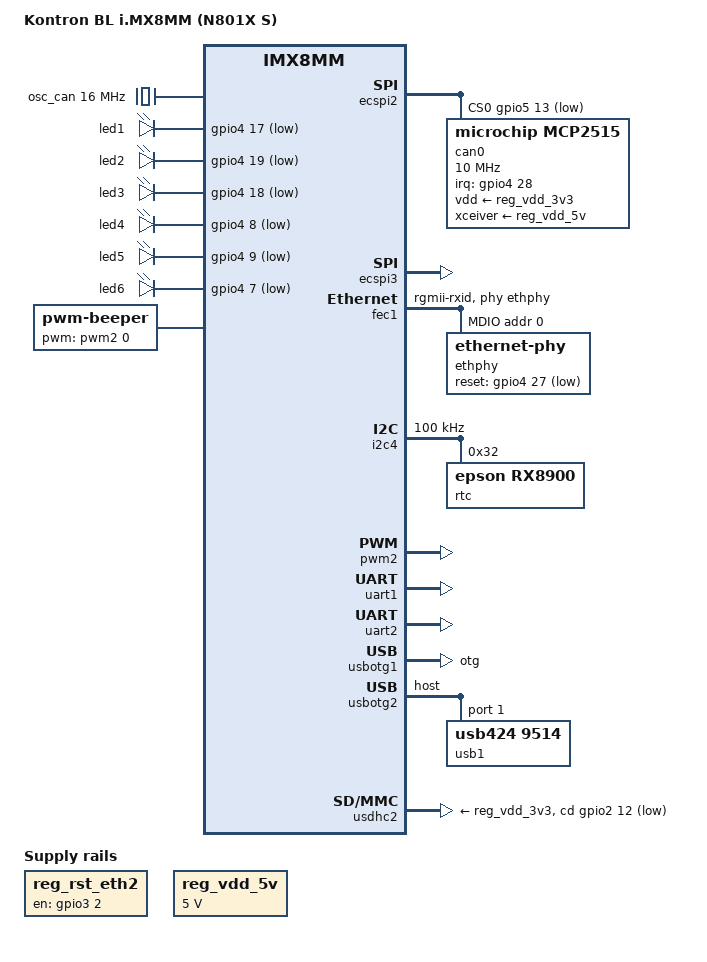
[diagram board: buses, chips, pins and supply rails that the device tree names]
// SPDX-License-Identifier: GPL-2.0+ OR MIT
/*
 * Copyright (C) 2019 Kontron Electronics GmbH
 */

/dts-v1/;

#include "imx8mm-kontron-sl.dtsi"

/ {
	model = "Kontron BL i.MX8MM (N801X S)";
	compatible = "kontron,imx8mm-bl", "kontron,imx8mm-sl", "fsl,imx8mm";

	aliases {
		ethernet1 = &usbnet;
	};

	/* fixed crystal dedicated to mcp2515 */
	osc_can: clock-osc-can {
		compatible = "fixed-clock";
		#clock-cells = <0>;
		clock-frequency = <16000000>;
		clock-output-names = "osc-can";
	};

	leds {
		compatible = "gpio-leds";
		pinctrl-names = "default";
		pinctrl-0 = <&pinctrl_gpio_led>;

		led1 {
			label = "led1";
			gpios = <&gpio4 17 GPIO_ACTIVE_LOW>;
			linux,default-trigger = "heartbeat";
		};

		led2 {
			label = "led2";
			gpios = <&gpio4 19 GPIO_ACTIVE_LOW>;
		};

		led3 {
			label = "led3";
			gpios = <&gpio4 18 GPIO_ACTIVE_LOW>;
		};

		led4 {
			label = "led4";
			gpios = <&gpio4 8 GPIO_ACTIVE_LOW>;
		};

		led5 {
			label = "led5";
			gpios = <&gpio4 9 GPIO_ACTIVE_LOW>;
		};

		led6 {
			label = "led6";
			gpios = <&gpio4 7 GPIO_ACTIVE_LOW>;
		};
	};

	pwm-beeper {
		compatible = "pwm-beeper";
		pwms = <&pwm2 0 5000 0>;
	};

	reg_rst_eth2: regulator-rst-eth2 {
		compatible = "regulator-fixed";
		regulator-name = "rst-usb-eth2";
		pinctrl-names = "default";
		pinctrl-0 = <&pinctrl_usb_eth2>;
		gpio = <&gpio3 2 GPIO_ACTIVE_HIGH>;
		enable-active-high;
		regulator-always-on;
	};

	reg_vdd_5v: regulator-5v {
		compatible = "regulator-fixed";
		regulator-name = "vdd-5v";
		regulator-min-microvolt = <5000000>;
		regulator-max-microvolt = <5000000>;
	};
};

&ecspi2 {
	pinctrl-names = "default";
	pinctrl-0 = <&pinctrl_ecspi2>;
	cs-gpios = <&gpio5 13 GPIO_ACTIVE_LOW>;
	status = "okay";

	can0: can@0 {
		compatible = "microchip,mcp2515";
		reg = <0>;
		pinctrl-names = "default";
		pinctrl-0 = <&pinctrl_can>;
		clocks = <&osc_can>;
		interrupt-parent = <&gpio4>;
		interrupts = <28 IRQ_TYPE_EDGE_FALLING>;
		spi-max-frequency = <10000000>;
		vdd-supply = <&reg_vdd_3v3>;
		xceiver-supply = <&reg_vdd_5v>;
	};
};

&ecspi3 {
	pinctrl-names = "default";
	pinctrl-0 = <&pinctrl_ecspi3>;
	cs-gpios = <&gpio5 25 GPIO_ACTIVE_LOW>;
	status = "okay";
};

&fec1 {
	pinctrl-names = "default";
	pinctrl-0 = <&pinctrl_enet>;
	phy-connection-type = "rgmii-rxid";
	phy-handle = <&ethphy>;
	status = "okay";

	mdio {
		#address-cells = <1>;
		#size-cells = <0>;

		ethphy: ethernet-phy@0 {
			reg = <0>;
			reset-assert-us = <1>;
			reset-deassert-us = <15000>;
			reset-gpios = <&gpio4 27 GPIO_ACTIVE_LOW>;
		};
	};
};

&i2c4 {
	clock-frequency = <100000>;
	pinctrl-names = "default";
	pinctrl-0 = <&pinctrl_i2c4>;
	status = "okay";

	rtc@32 {
		compatible = "epson,rx8900";
		reg = <0x32>;
	};
};

&pwm2 {
	pinctrl-names = "default";
	pinctrl-0 = <&pinctrl_pwm2>;
	status = "okay";
};

&uart1 {
	pinctrl-names = "default";
	pinctrl-0 = <&pinctrl_uart1>;
	uart-has-rtscts;
	status = "okay";
};

&uart2 {
	pinctrl-names = "default";
	pinctrl-0 = <&pinctrl_uart2>;
	linux,rs485-enabled-at-boot-time;
	uart-has-rtscts;
	status = "okay";
};

&usbotg1 {
	dr_mode = "otg";
	over-current-active-low;
	status = "okay";
};

&usbotg2 {
	dr_mode = "host";
	disable-over-current;
	#address-cells = <1>;
	#size-cells = <0>;
	status = "okay";

	usb1@1 {
		compatible = "usb424,9514";
		reg = <1>;
		#address-cells = <1>;
		#size-cells = <0>;

		usbnet: ethernet@1 {
			compatible = "usb424,ec00";
			reg = <1>;
			local-mac-address = [ 00 00 00 00 00 00 ];
		};
	};
};

&usdhc2 {
	pinctrl-names = "default", "state_100mhz", "state_200mhz";
	pinctrl-0 = <&pinctrl_usdhc2>;
	pinctrl-1 = <&pinctrl_usdhc2_100mhz>;
	pinctrl-2 = <&pinctrl_usdhc2_200mhz>;
	vmmc-supply = <&reg_vdd_3v3>;
	vqmmc-supply = <&reg_nvcc_sd>;
	cd-gpios = <&gpio2 12 GPIO_ACTIVE_LOW>;
	status = "okay";
};

&iomuxc {
	pinctrl-names = "default";
	pinctrl-0 = <&pinctrl_gpio>;

	pinctrl_can: cangrp {
		fsl,pins = <
			MX8MM_IOMUXC_SAI3_RXFS_GPIO4_IO28		0x19
		>;
	};

	pinctrl_ecspi2: ecspi2grp {
		fsl,pins = <
			MX8MM_IOMUXC_ECSPI2_MISO_ECSPI2_MISO		0x82
			MX8MM_IOMUXC_ECSPI2_MOSI_ECSPI2_MOSI		0x82
			MX8MM_IOMUXC_ECSPI2_SCLK_ECSPI2_SCLK		0x82
			MX8MM_IOMUXC_ECSPI2_SS0_GPIO5_IO13		0x19
		>;
	};

	pinctrl_ecspi3: ecspi3grp {
		fsl,pins = <
			MX8MM_IOMUXC_UART2_RXD_ECSPI3_MISO		0x82
			MX8MM_IOMUXC_UART1_TXD_ECSPI3_MOSI		0x82
			MX8MM_IOMUXC_UART1_RXD_ECSPI3_SCLK		0x82
			MX8MM_IOMUXC_UART2_TXD_GPIO5_IO25		0x19
		>;
	};

	pinctrl_enet: enetgrp {
		fsl,pins = <
			MX8MM_IOMUXC_ENET_MDC_ENET1_MDC			0x3
			MX8MM_IOMUXC_ENET_MDIO_ENET1_MDIO		0x3
			MX8MM_IOMUXC_ENET_TD3_ENET1_RGMII_TD3		0x1f
			MX8MM_IOMUXC_ENET_TD2_ENET1_RGMII_TD2		0x1f
			MX8MM_IOMUXC_ENET_TD1_ENET1_RGMII_TD1		0x1f
			MX8MM_IOMUXC_ENET_TD0_ENET1_RGMII_TD0		0x1f
			MX8MM_IOMUXC_ENET_RD3_ENET1_RGMII_RD3		0x91
			MX8MM_IOMUXC_ENET_RD2_ENET1_RGMII_RD2		0x91
			MX8MM_IOMUXC_ENET_RD1_ENET1_RGMII_RD1		0x91
			MX8MM_IOMUXC_ENET_RD0_ENET1_RGMII_RD0		0x91
			MX8MM_IOMUXC_ENET_TXC_ENET1_RGMII_TXC		0x1f
			MX8MM_IOMUXC_ENET_RXC_ENET1_RGMII_RXC		0x91
			MX8MM_IOMUXC_ENET_RX_CTL_ENET1_RGMII_RX_CTL	0x91
			MX8MM_IOMUXC_ENET_TX_CTL_ENET1_RGMII_TX_CTL	0x1f
			MX8MM_IOMUXC_SAI2_MCLK_GPIO4_IO27		0x19 /* PHY RST */
			MX8MM_IOMUXC_SAI2_TXC_GPIO4_IO25		0x19 /* ETH IRQ */
		>;
	};

	pinctrl_gpio_led: gpioledgrp {
		fsl,pins = <
			MX8MM_IOMUXC_NAND_READY_B_GPIO3_IO16		0x19
			MX8MM_IOMUXC_SAI1_RXD5_GPIO4_IO7		0x19
			MX8MM_IOMUXC_SAI1_RXD6_GPIO4_IO8		0x19
			MX8MM_IOMUXC_SAI1_RXD7_GPIO4_IO9		0x19
			MX8MM_IOMUXC_SAI1_TXD5_GPIO4_IO17		0x19
			MX8MM_IOMUXC_SAI1_TXD6_GPIO4_IO18		0x19
			MX8MM_IOMUXC_SAI1_TXD7_GPIO4_IO19		0x19
		>;
	};

	pinctrl_gpio: gpiogrp {
		fsl,pins = <
			MX8MM_IOMUXC_GPIO1_IO03_GPIO1_IO3		0x19
			MX8MM_IOMUXC_GPIO1_IO07_GPIO1_IO7		0x19
			MX8MM_IOMUXC_GPIO1_IO09_GPIO1_IO9		0x19
			MX8MM_IOMUXC_GPIO1_IO11_GPIO1_IO11		0x19
			MX8MM_IOMUXC_GPIO1_IO06_GPIO1_IO6		0x19
			MX8MM_IOMUXC_GPIO1_IO08_GPIO1_IO8		0x19
			MX8MM_IOMUXC_GPIO1_IO10_GPIO1_IO10		0x19
			MX8MM_IOMUXC_SAI3_MCLK_GPIO5_IO2		0x19
		>;
	};

	pinctrl_i2c4: i2c4grp {
		fsl,pins = <
			MX8MM_IOMUXC_I2C4_SCL_I2C4_SCL			0x40000083
			MX8MM_IOMUXC_I2C4_SDA_I2C4_SDA			0x40000083
		>;
	};

	pinctrl_pwm2: pwm2grp {
		fsl,pins = <
			MX8MM_IOMUXC_SPDIF_RX_PWM2_OUT			0x19
		>;
	};

	pinctrl_uart1: uart1grp {
		fsl,pins = <
			MX8MM_IOMUXC_SAI2_RXC_UART1_DCE_RX		0x0
			MX8MM_IOMUXC_SAI2_RXFS_UART1_DCE_TX		0x0
			MX8MM_IOMUXC_SAI2_RXD0_UART1_DCE_RTS_B		0x0
			MX8MM_IOMUXC_SAI2_TXFS_UART1_DCE_CTS_B		0x0
		>;
	};

	pinctrl_uart2: uart2grp {
		fsl,pins = <
			MX8MM_IOMUXC_SAI3_TXFS_UART2_DCE_RX		0x0
			MX8MM_IOMUXC_SAI3_TXC_UART2_DCE_TX		0x0
			MX8MM_IOMUXC_SAI3_RXD_UART2_DCE_RTS_B		0x0
			MX8MM_IOMUXC_SAI3_RXC_UART2_DCE_CTS_B		0x0
		>;
	};

	pinctrl_usb_eth2: usbeth2grp {
		fsl,pins = <
			MX8MM_IOMUXC_NAND_CE1_B_GPIO3_IO2		0x19
		>;
	};

	pinctrl_usdhc2: usdhc2grp {
		fsl,pins = <
			MX8MM_IOMUXC_SD2_CLK_USDHC2_CLK			0x90
			MX8MM_IOMUXC_SD2_CMD_USDHC2_CMD			0x1d0
			MX8MM_IOMUXC_SD2_DATA0_USDHC2_DATA0		0x1d0
			MX8MM_IOMUXC_SD2_DATA1_USDHC2_DATA1		0x1d0
			MX8MM_IOMUXC_SD2_DATA2_USDHC2_DATA2		0x1d0
			MX8MM_IOMUXC_SD2_DATA3_USDHC2_DATA3		0x1d0
			MX8MM_IOMUXC_SD2_CD_B_GPIO2_IO12		0x19
			MX8MM_IOMUXC_GPIO1_IO04_USDHC2_VSELECT		0xd0
		>;
	};

	pinctrl_usdhc2_100mhz: usdhc2-100mhzgrp {
		fsl,pins = <
			MX8MM_IOMUXC_SD2_CLK_USDHC2_CLK			0x94
			MX8MM_IOMUXC_SD2_CMD_USDHC2_CMD			0x1d4
			MX8MM_IOMUXC_SD2_DATA0_USDHC2_DATA0		0x1d4
			MX8MM_IOMUXC_SD2_DATA1_USDHC2_DATA1		0x1d4
			MX8MM_IOMUXC_SD2_DATA2_USDHC2_DATA2		0x1d4
			MX8MM_IOMUXC_SD2_DATA3_USDHC2_DATA3		0x1d4
			MX8MM_IOMUXC_SD2_CD_B_GPIO2_IO12		0x19
			MX8MM_IOMUXC_GPIO1_IO04_USDHC2_VSELECT		0xd0
		>;
	};

	pinctrl_usdhc2_200mhz: usdhc2-200mhzgrp {
		fsl,pins = <
			MX8MM_IOMUXC_SD2_CLK_USDHC2_CLK			0x96
			MX8MM_IOMUXC_SD2_CMD_USDHC2_CMD			0x1d6
			MX8MM_IOMUXC_SD2_DATA0_USDHC2_DATA0		0x1d6
			MX8MM_IOMUXC_SD2_DATA1_USDHC2_DATA1		0x1d6
			MX8MM_IOMUXC_SD2_DATA2_USDHC2_DATA2		0x1d6
			MX8MM_IOMUXC_SD2_DATA3_USDHC2_DATA3		0x1d6
			MX8MM_IOMUXC_SD2_CD_B_GPIO2_IO12		0x19
			MX8MM_IOMUXC_GPIO1_IO04_USDHC2_VSELECT		0xd0
		>;
	};
};
